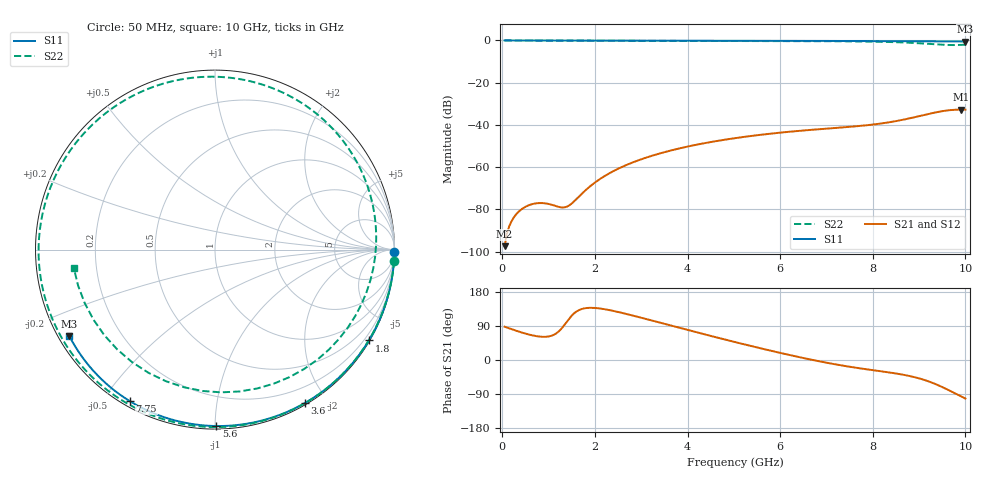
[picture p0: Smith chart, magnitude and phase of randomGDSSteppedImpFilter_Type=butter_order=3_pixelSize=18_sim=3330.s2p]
! freq	dB(S11)	phase(S11)	dB(S12)	phase(S12)
!  dB(S21)	phase(S21)	dB(S22)	phase(S22)
!S-par simulation data
#  GHz  S  DB  R 50
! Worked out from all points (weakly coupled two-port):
!   200 points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, 50 MHz to 10 GHz, reference 50 ohm
!   highest |S21| = -32.73 dB at 9.9 GHz (marker M1); lowest = -97.4 dB at 50 MHz (marker M2)
!   lowest |S11| = -0.5 dB at 10 GHz (marker M3), VSWR 34.50, Z = 1.56 - j13.7 ohm
!   |S11| at or under -10 dB: nowhere
!   |S22| runs from -2.2 to 0.0 dB; largest |S21 - S12| = 0
!   S11 on the Smith chart (normalised r, x): 50 MHz: open; 1.8 GHz: 0.03, -3.66; 3.6 GHz: 0.02, -1.74; 5.6 GHz: 0.02, -1.01; 7.75 GHz: 0.02, -0.59; 10 GHz: 0.03, -0.27
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0.05  -0.00 -0.9  -97.37 87.8  -97.37 87.8  -0.00 -3.6
0.45  -0.01 -7.7  -79.38 71.4  -79.38 71.4  -0.05 -31.5
0.9  -0.02 -15.4  -77.04 61.1  -77.04 61.1  -0.07 -60.6
1.35  -0.03 -23.0  -78.98 93.9  -78.98 93.9  -0.09 -86.3
1.75  -0.04 -29.7  -71.86 135.7  -71.86 135.7  -0.11 -106.1
1.8  -0.04 -30.6  -70.85 136.8  -70.85 136.8  -0.11 -108.4
2.55  -0.06 -42.9  -60.22 125.3  -60.22 125.3  -0.12 -139.0
3.4  -0.07 -56.5  -53.49 98.7  -53.49 98.7  -0.14 -167.3
3.6  -0.08 -59.6  -52.31 92.2  -52.31 92.2  -0.14 -173.4
5.05  -0.13 -81.6  -46.16 46.6  -46.16 46.6  -0.20 145.5
5.6  -0.15 -89.5  -44.60 30.2  -44.60 30.2  -0.23 130.0
6.7  -0.20 -105.0  -42.26 0.1  -42.26 0.1  -0.31 96.1
7.25  -0.24 -112.5  -41.33 -12.7  -41.33 -12.7  -0.38 76.3
7.75  -0.28 -119.3  -40.40 -22.5  -40.40 -22.5  -0.48 55.2
8.35  -0.33 -127.3  -38.75 -32.8  -38.75 -32.8  -0.72 22.7
8.65  -0.36 -131.3  -37.55 -38.7  -37.55 -38.7  -0.94 1.5
8.9  -0.38 -134.6  -36.34 -45.2  -36.34 -45.2  -1.20 -20.3
9.1  -0.40 -137.3  -35.31 -52.1  -35.31 -52.1  -1.47 -41.4
9.35  -0.43 -140.6  -34.08 -63.3  -34.08 -63.3  -1.84 -73.1
9.6  -0.46 -144.0  -33.16 -77.2  -33.16 -77.2  -2.13 -110.5
9.9  -0.49 -148.0  -32.73 -95.7  -32.73 -95.7  -2.11 -157.8
10  -0.50 -149.3  -32.76 -101.7  -32.76 -101.7  -2.01 -172.7
